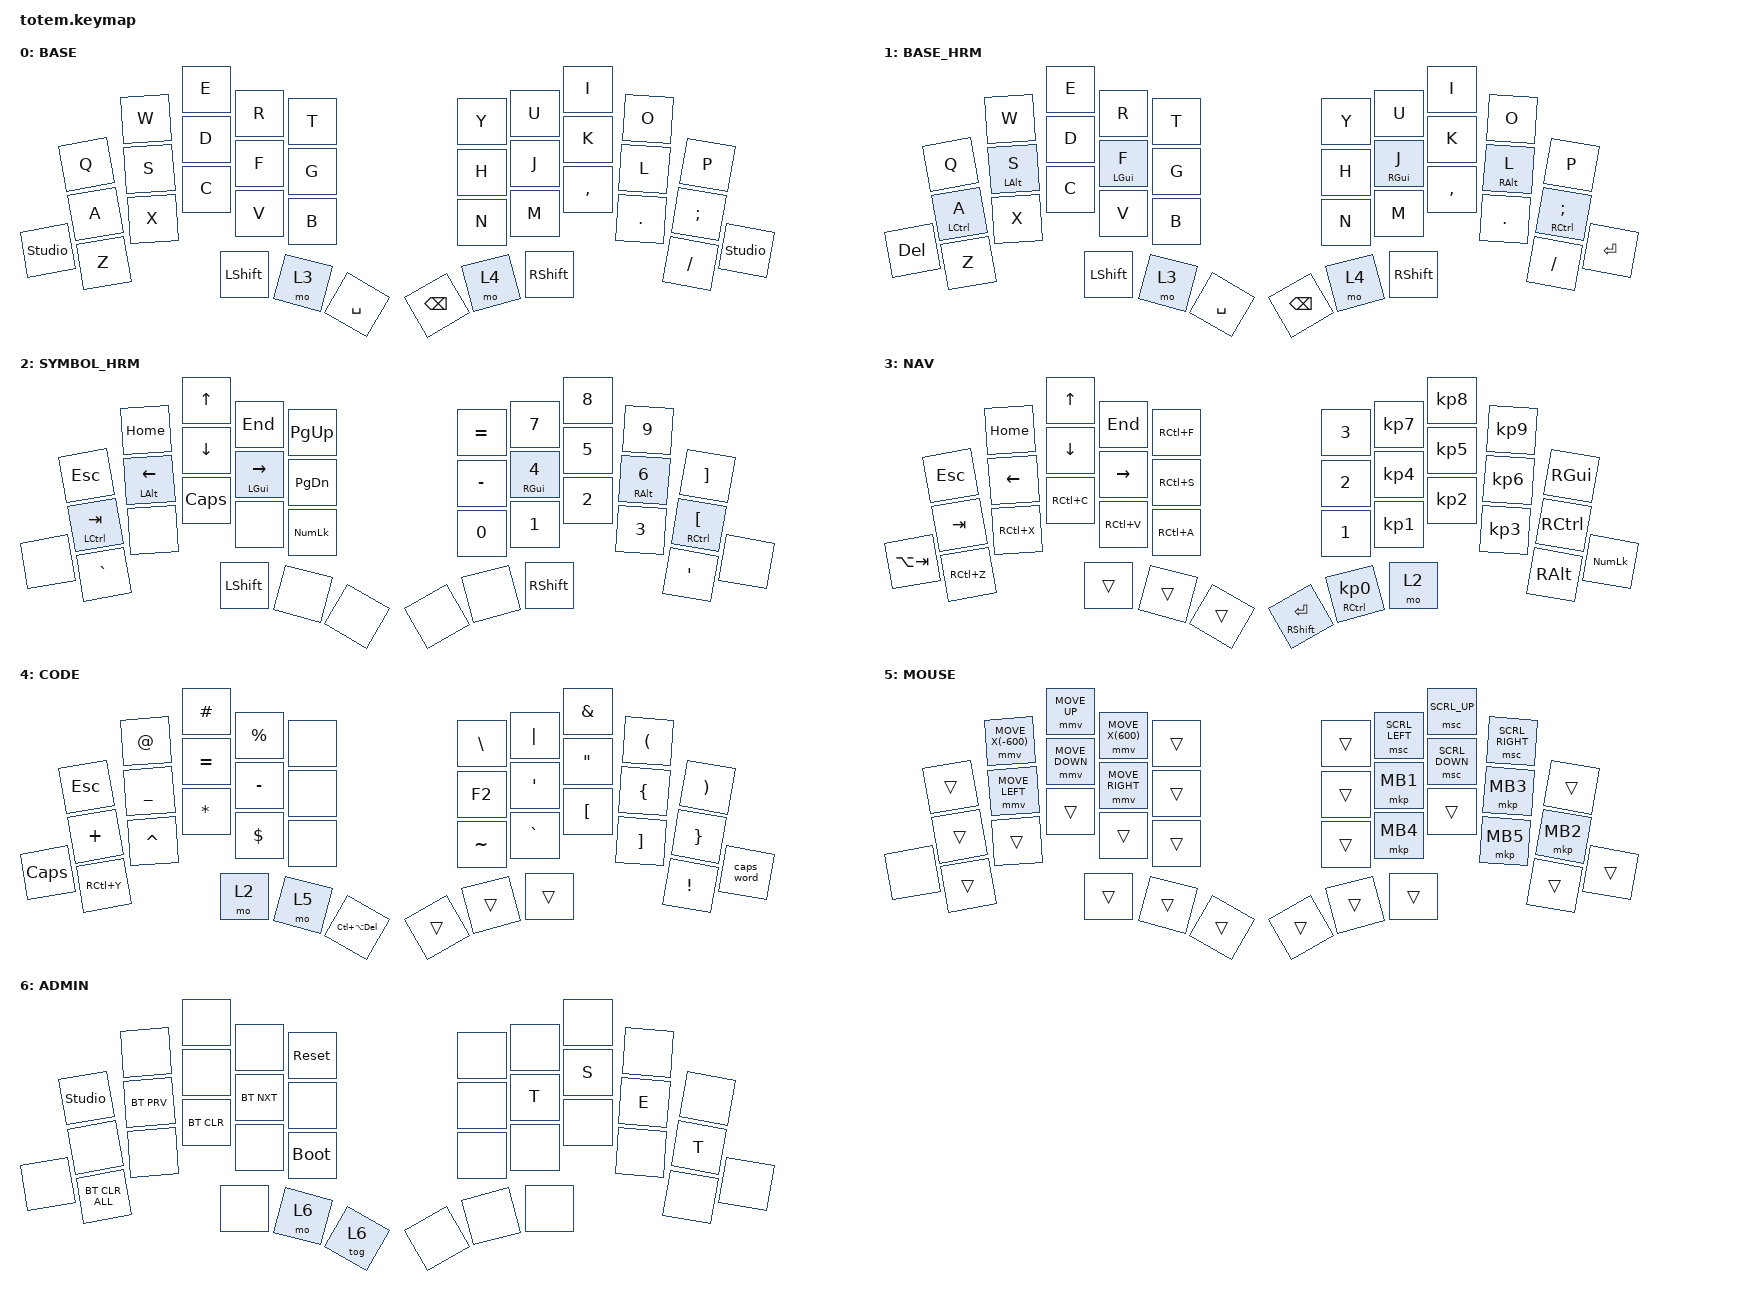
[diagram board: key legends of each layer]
//
//                                                        ▀▀▀▀▀     ▀▀▀▀▀          ▀▀█▀▀
//                                                        ▄▀▀▀▄  ▄  ▄▀▀▀▄  ▄  ▄▀▀▀▄  █  ▄▀▀▀▄
//                                                        █   █  █  █   █  █  █   █  █  █   █
//                                                         ▀▀▀   █   ▀▀▀   █   ▀▀▀   ▀   ▀▀▀
//                                                               █      ▄▄▄█▄▄▄    █   █  
//                                                               ▀      █  █  █     █▄█
//                                                             ▀▀▀▀▀    █  █  █      ▀
//                                                                      ▀  ▀  ▀
//
// ▄▄▄▄▄▄▄▄▄▄▄▄▄▄▄▄▄▄▄▄▄▄▄▄▄▄▄▄▄▄▄▄▄▄▄▄▄▄▄▄▄▄▄▄▄▄▄▄▄▄▄▄▄▄▄▄▄▄▄▄▄▄▄▄▄▄▄▄▄▄▄▄▄▄▄▄▄▄▄▄▄▄▄▄▄▄▄▄▄▄▄▄▄▄▄▄▄▄▄▄▄▄▄▄▄▄▄▄▄▄▄▄▄▄▄▄▄▄▄▄▄▄▄▄▄▄▄▄▄▄▄▄▄▄▄▄▄▄▄▄▄▄▄▄▄▄▄▄▄

#include <behaviors.dtsi>
#include <dt-bindings/zmk/bt.h>
#include <dt-bindings/zmk/keys.h>
#include <dt-bindings/zmk/pointing.h>

#define BASE 0
#define NAV  1
#define SYM  2
#define ADJ  3
#define TVP1 4
#define TVP2 5

&mt {
    quick-tap-ms = <100>;
    global-quick-tap;
    flavor = "tap-preferred";
    tapping-term-ms = <170>;
};

/ {
    combos {
        compatible = "zmk,combos";

        base_hrm_combo {
            bindings = <&tog 1>;
            key-positions = <10 33 19 36>;
        };

        bt_0_combo {
            bindings = <&bt BT_SEL 0>;
            key-positions = <10 4>;
            layers = <3>;
        };

        bt_1_combo {
            bindings = <&bt BT_SEL 1>;
            key-positions = <10 13>;
            layers = <3>;
        };

        bt_2_combo {
            bindings = <&bt BT_SEL 2>;
            key-positions = <10 3>;
            layers = <3>;
        };

        bt_3_combo {
            bindings = <&bt BT_SEL 3>;
            key-positions = <10 2>;
            layers = <3>;
        };

        bt_4_combo {
            bindings = <&bt BT_SEL 4>;
            key-positions = <10 2>;
            layers = <3>;
        };

        admin_layer_combo {
            bindings = <&sl 6>;
            key-positions = <1 2 3>;
            layers = <3>;
        };
    };

    behaviors {
        holdtap_esc_delete: holdtap_esc_delete {
            compatible = "zmk,behavior-hold-tap";
            label = "HOLDTAP_ESC_DELETE";
            bindings = <&kp>, <&kp>;

            #binding-cells = <2>;
            tapping-term-ms = <200>;
        };
    };

    keymap {
        compatible = "zmk,keymap";

        // ▄▄▄▄▄▄▄▄▄▄▄▄▄▄▄▄▄▄▄▄▄▄▄▄▄▄▄▄▄▄▄▄▄▄▄▄▄▄▄▄▄▄▄▄▄▄▄▄▄▄▄▄▄▄▄▄▄▄▄▄▄▄▄▄▄▄▄▄▄▄▄▄▄▄▄▄▄▄▄▄▄▄▄▄▄▄▄▄▄▄▄▄▄▄▄▄▄▄▄▄▄▄▄▄▄▄▄▄▄▄▄▄▄▄▄▄▄▄▄▄▄▄▄▄▄▄▄▄▄▄▄▄▄▄▄▄▄▄▄▄▄▄▄▄▄▄▄▄▄
        // ▄▄▄▄▄▄▄▄▄▄▄▄▄▄▄▄▄▄▄▄▄▄▄▄▄▄▄▄▄▄▄▄▄▄▄▄▄▄▄▄▄▄▄▄▄▄▄▄▄▄▄▄▄▄▄▄▄▄▄▄▄▄▄▄▄▄▄▄▄▄▄▄▄▄▄▄▄▄▄▄▄▄▄▄▄▄▄▄▄▄▄▄▄▄▄▄▄▄▄▄▄▄▄▄▄▄▄▄▄▄▄▄▄▄▄▄▄▄▄▄▄▄▄▄▄▄▄▄▄▄▄▄▄▄▄▄▄▄▄▄▄▄▄▄▄▄▄▄▄
        // ▄▄▄▄▄▄▄▄▄▄▄▄▄▄▄▄▄▄▄▄▄▄▄▄▄▄▄▄▄▄▄▄▄▄▄▄▄▄▄▄▄▄▄▄▄▄▄▄▄▄▄▄▄▄▄▄▄▄▄▄▄▄▄▄▄▄▄▄▄▄▄▄▄▄▄▄▄▄▄▄▄▄▄▄▄▄▄▄▄▄▄▄▄▄▄▄▄▄▄▄▄▄▄▄▄▄▄▄▄▄▄▄▄▄▄▄▄▄▄▄▄▄▄▄▄▄▄▄▄▄▄▄▄▄▄▄▄▄▄▄▄▄▄▄▄▄▄▄▄
        // ▄▄▄▄▄▄▄▄▄▄▄▄▄▄▄▄▄▄▄▄▄▄▄▄▄▄▄▄▄▄▄▄▄▄▄▄▄▄▄▄▄▄▄▄▄▄▄▄▄▄▄▄▄▄▄▄▄▄▄▄▄▄▄▄▄▄▄▄▄▄▄▄▄▄▄▄▄▄▄▄▄▄▄▄▄▄▄▄▄▄▄▄▄▄▄▄▄▄▄▄▄▄▄▄▄▄▄▄▄▄▄▄▄▄▄▄▄▄▄▄▄▄▄▄▄▄▄▄▄▄▄▄▄▄▄▄▄▄▄▄▄▄▄▄▄▄▄▄▄
        // ▄▄▄▄▄▄▄▄▄▄▄▄▄▄▄▄▄▄▄▄▄▄▄▄▄▄▄▄▄▄▄▄▄▄▄▄▄▄▄▄▄▄▄▄▄▄▄▄▄▄▄▄▄▄▄▄▄▄▄▄▄▄▄▄▄▄▄▄▄▄▄▄▄▄▄▄▄▄▄▄▄▄▄▄▄▄▄▄▄▄▄▄▄▄▄▄▄▄▄▄▄▄▄▄▄▄▄▄▄▄▄▄▄▄▄▄▄▄▄▄▄▄▄▄▄▄▄▄▄▄▄▄▄▄▄▄▄▄▄▄▄▄▄▄▄▄▄▄▄
        // ▄▄▄▄▄▄▄▄▄▄▄▄▄▄▄▄▄▄▄▄▄▄▄▄▄▄▄▄▄▄▄▄▄▄▄▄▄▄▄▄▄▄▄▄▄▄▄▄▄▄▄▄▄▄▄▄▄▄▄▄▄▄▄▄▄▄▄▄▄▄▄▄▄▄▄▄▄▄▄▄▄▄▄▄▄▄▄▄▄▄▄▄▄▄▄▄▄▄▄▄▄▄▄▄▄▄▄▄▄▄▄▄▄▄▄▄▄▄▄▄▄▄▄▄▄▄▄▄▄▄▄▄▄▄▄▄▄▄▄▄▄▄▄▄▄▄▄▄▄

        BASE {
            bindings = <
           &kp Q  &kp W  &kp E           &kp R  &kp T        &kp Y     &kp U  &kp I            &kp O    &kp P
           &kp A  &kp S  &kp D           &kp F  &kp G        &kp H     &kp J  &kp K            &kp L    &kp SEMI
&studio_unlock  &kp Z  &kp X  &kp C           &kp V  &kp B        &kp N     &kp M  &kp COMMA        &kp DOT  &kp FSLH  &studio_unlock
                         &kp LEFT_SHIFT  &mo 3  &kp SPACE    &kp BSPC  &mo 4  &kp RIGHT_SHIFT
            >;
        };

        BASE_HRM {
            bindings = <
            &kp Q        &kp W       &kp E      &kp R       &kp T        &kp Y          &kp U       &kp I      &kp O       &kp P
            &mt LCTRL A  &mt LALT S  &kp D      &mt LGUI F  &kp G        &kp H          &mt RGUI J  &kp K      &mt RALT L  &mt RCTRL SEMI
&kp DELETE  &kp Z        &kp X       &kp C      &kp V       &kp B        &kp N          &kp M       &kp COMMA  &kp DOT     &kp FSLH        &kp ENTER
                                     &kp LSHFT  &mo 3       &kp SPACE    &kp BACKSPACE  &mo 4       &kp RSHFT
            >;
        };

        SYMBOL_HRM {
            bindings = <
       &kp ESC        &kp HOME       &kp UP        &kp END         &kp PG_UP         &kp EQUAL  &kp N7             &kp N8        &kp N9             &kp RIGHT_BRACKET
       &mt LCTRL TAB  &mt LALT LEFT  &kp DOWN      &mt LGUI RIGHT  &kp PG_DN         &kp MINUS  &mt RGUI NUMBER_4  &kp N5        &mt RALT NUMBER_6  &mt RCTRL LEFT_BRACKET
&none  &kp GRAVE      &none          &kp CAPSLOCK  &none           &kp KP_NUMLOCK    &kp N0     &kp NUMBER_1       &kp NUMBER_2  &kp NUMBER_3       &kp APOSTROPHE          &none
                                     &kp LSHFT     &none           &none             &none      &none              &kp RSHFT
            >;
        };

        NAV {
            bindings = <
             &kp ESC    &kp HOME   &kp UP_ARROW    &kp END    &kp RC(F)    &kp NUMBER_3           &kp KP_N7        &kp KP_N8        &kp KP_N9  &kp RGUI
             &kp TAB    &kp LEFT   &kp DOWN_ARROW  &kp RIGHT  &kp RC(S)    &kp NUMBER_2           &kp KP_N4        &kp KP_N5        &kp KP_N6  &kp RCTRL
&kp LA(TAB)  &kp RC(Z)  &kp RC(X)  &kp RC(C)       &kp RC(V)  &kp RC(A)    &kp NUMBER_1           &kp KP_NUMBER_1  &kp KP_NUMBER_2  &kp KP_N3  &kp RALT   &kp KP_NUMLOCK
                                   &trans          &trans     &trans       &mt RIGHT_SHIFT ENTER  &mt RCTRL KP_N0  &mo 2
            >;
        };

        CODE {
            bindings = <
              &kp ESC    &kp AT     &kp HASH   &kp PERCENT  &none              &kp BACKSLASH  &kp PIPE   &kp AMPS           &kp LPAR        &kp RPAR
              &kp PLUS   &kp UNDER  &kp EQUAL  &kp MINUS    &none              &kp F2         &kp APOS   &kp DOUBLE_QUOTES  &kp LEFT_BRACE  &kp RBRC
&kp CAPSLOCK  &kp RC(Y)  &kp CARET  &kp STAR   &kp DOLLAR   &none              &kp TILDE      &kp GRAVE  &kp LBKT           &kp RBKT        &kp EXCL  &caps_word
                                    &mo 2      &mo 5        &kp LC(LA(DEL))    &trans         &trans     &trans
            >;
        };

        MOUSE {
            bindings = <
       &trans  &mmv MOVE_X(-600)  &mmv MOVE_UP    &mmv MOVE_X(600)  &trans    &trans  &msc SCRL_LEFT  &msc SCRL_UP    &msc SCRL_RIGHT  &trans
       &trans  &mmv MOVE_LEFT     &mmv MOVE_DOWN  &mmv MOVE_RIGHT   &trans    &trans  &mkp MB1        &msc SCRL_DOWN  &mkp MB3         &mkp MB2
&none  &trans  &trans             &trans          &trans            &trans    &trans  &mkp MB4        &trans          &mkp MB5         &trans    &trans
                                  &trans          &trans            &trans    &trans  &trans          &trans
            >;
        };

        ADMIN {
            bindings = <
       &studio_unlock  &none       &none       &none       &sys_reset     &none  &none  &none  &none  &none
       &none           &bt BT_PRV  &none       &bt BT_NXT  &none          &none  &kp T  &kp S  &kp E  &kp T
&none  &bt BT_CLR_ALL  &none       &bt BT_CLR  &none       &bootloader    &none  &none  &none  &none  &none  &none
                                   &none       &mo 6       &tog 6         &none  &none  &none
            >;
        };
    };
};
